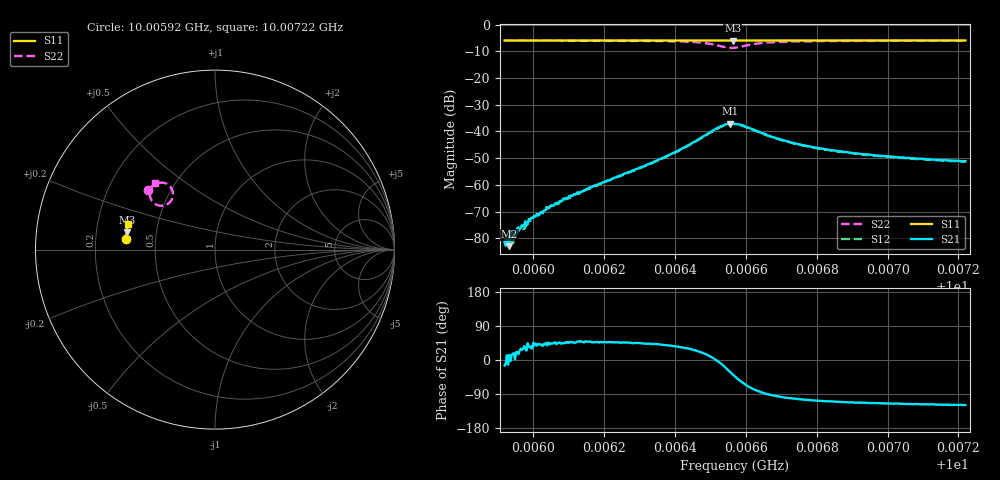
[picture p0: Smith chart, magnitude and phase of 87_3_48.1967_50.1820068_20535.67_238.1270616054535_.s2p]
#  HZ  S  RI  R  50.00
! Rohde & Schwarz Vector Network Analyzer
! Rohde-Schwarz,ZNB20-2Port,1311601062101988,3.16
! Created: UTC 3/20/2024, 11:39:56 AM
! freq[Hz]  re:S11  im:S11  re:S21  im:S21  re:S12  im:S12  re:S22  im:S22
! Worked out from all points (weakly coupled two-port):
!   401 points, 10.00592 GHz to 10.00722 GHz, reference 50 ohm
!   highest |S21| = -37.05 dB at 10.00656 GHz (marker M1); lowest = -83.0 dB at 10.00593 GHz (marker M2)
!   lowest |S11| = -6.0 dB at 10.00656 GHz (marker M3), VSWR 3.01, Z = 16.8 + j4.39 ohm
!   |S11| at or under -10 dB: nowhere
!   |S22| runs from -8.8 to -6.0 dB; largest |S21 - S12| = 0.00098
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1.0005919e10  -0.4983 0.0573  8.29e-05 -2.18e-05  8e-05 1.64e-05  -0.3707 0.3329
1.0005932e10  -0.498 0.0582  6.91e-05 1.62e-05  0.000112 -1.04e-05  -0.3701 0.3337
1.0005948e10  -0.4979 0.0591  0.000109 2.95e-06  9.56e-05 4.63e-05  -0.3691 0.3347
1.0005958e10  -0.4979 0.0598  0.00013 3.59e-05  0.000138 8.33e-05  -0.3686 0.3353
1.0005965e10  -0.4979 0.0603  0.000136 7.82e-05  0.000152 5.72e-05  -0.3682 0.3358
1.0005978e10  -0.4978 0.0611  0.00018 0.000105  0.000116 0.000102  -0.3674 0.3368
1.0005994e10  -0.4977 0.0623  0.000195 0.000143  0.00017 0.000149  -0.3665 0.3377
1.0006046e10  -0.4974 0.0656  0.000283 0.000248  0.000277 0.000268  -0.3629 0.3415
1.0006137e10  -0.4966 0.0715  0.000501 0.000554  0.000494 0.000581  -0.3563 0.3481
1.0006355e10  -0.4949 0.0858  0.00225 0.00197  0.00212 0.00202  -0.3274 0.3676
1.0006433e10  -0.4937 0.0907  0.00454 0.00272  0.00431 0.00286  -0.3005 0.3735
1.0006485e10  -0.4931 0.0942  0.00808 0.00238  0.0078 0.0027  -0.2658 0.3642
1.0006527e10  -0.492 0.0965  0.0121 -0.00157  0.0118 -0.00102  -0.235 0.3191
1.0006556e10  -0.4917 0.0979  0.0119 -0.00751  0.012 -0.00654  -0.2497 0.2666
1.0006563e10  -0.4915 0.0981  0.011 -0.00867  0.0113 -0.00793  -0.2591 0.2574
1.0006569e10  -0.4916 0.0984  0.0101 -0.0096  0.0103 -0.00899  -0.27 0.2509
1.0006641e10  -0.4916 0.1027  0.000884 -0.00956  0.00143 -0.00917  -0.3535 0.2754
1.0006709e10  -0.4912 0.1073  -0.00105 -0.00661  -0.00068 -0.00655  -0.3629 0.3103
1.0006787e10  -0.4903 0.1126  -0.00143 -0.0049  -0.0012 -0.00488  -0.3594 0.3312
1.0006901e10  -0.489 0.1199  -0.00147 -0.00367  -0.00127 -0.00367  -0.3516 0.3482
1.0007005e10  -0.4874 0.1263  -0.00142 -0.0031  -0.00126 -0.00307  -0.3449 0.3584
1.0007219e10  -0.4844 0.1399  -0.00134 -0.00243  -0.00119 -0.00245  -0.3324 0.3736
